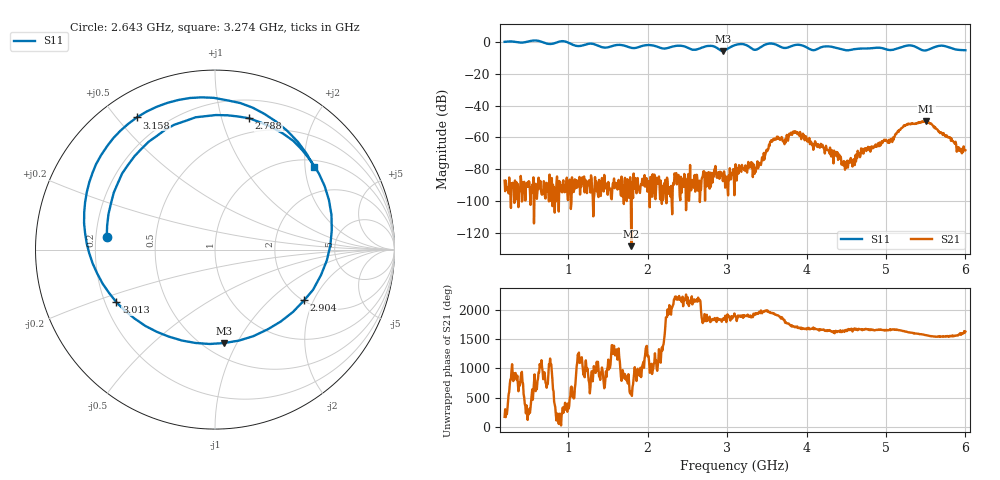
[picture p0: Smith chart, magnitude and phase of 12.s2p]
! NanoVNA-App by OneOfEleven et al v1.1.209 (+OD15)
! Date: 2024-07-30 15:18:05
! Start: 200MHz Stop: 6GHz Points: 801
! S-Parameter data: F S11 S21 S12 S22
# Hz S RI R 50
!  Frequency  S11_Real  S11_Imag  S21_Real  S21_Imag  S12_Real  S12_Imag  S22_Real  S22_Imag
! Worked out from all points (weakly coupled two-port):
!   801 points, 200 MHz to 6 GHz, reference 50 ohm
!   highest |S21| = -49.76 dB at 5.507 GHz (marker M1); lowest = -128.2 dB at 1.795 GHz (marker M2)
!   lowest |S11| = -5.6 dB at 2.948 GHz (marker M3), VSWR 3.19, Z = 31.1 - j44.5 ohm
!   |S11| at or under -10 dB: nowhere
!   S12 and S22 are empty: the file has one direction only
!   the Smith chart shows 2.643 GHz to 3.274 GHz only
!   S11 on the Smith chart (normalised r, x): 2.643 GHz: 0.25, +0.05; 2.788 GHz: 0.36, +1.23; 2.904 GHz: 2.02, -1.70; 3.013 GHz: 0.25, -0.24; 3.158 GHz: 0.10, +0.57; 3.274 GHz: 1.18, +2.24
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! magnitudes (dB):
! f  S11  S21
! 200 MHz  0.0  -87.1
! 1.171 GHz  -2.3  -86.0
! 1.795 GHz  -3.7  -128.2
! 2.136 GHz  -3.2  -87.8
! 2.643 GHz  -4.3  -91.1
! 2.788 GHz  -2.4  -82.1
! 2.904 GHz  -4.9  -86.0
! 2.948 GHz  -5.6  -87.4
! 3.013 GHz  -4.1  -96.3
! 3.1 GHz  -2.0  -81.8
! 3.158 GHz  -1.4  -78.8
! 3.274 GHz  -2.9  -79.1
! 3.419 GHz  -3.4  -76.6
! 3.571 GHz  -1.1  -62.0
! 3.738 GHz  -3.8  -63.2
! 3.832 GHz  -2.3  -56.3
! 4.072 GHz  -5.1  -64.9
! 4.492 GHz  -5.2  -75.9
! 5.036 GHz  -5.0  -61.5
! 5.253 GHz  -2.4  -52.0
! 5.507 GHz  -5.3  -49.8
! 6 GHz  -5.2  -68.0
